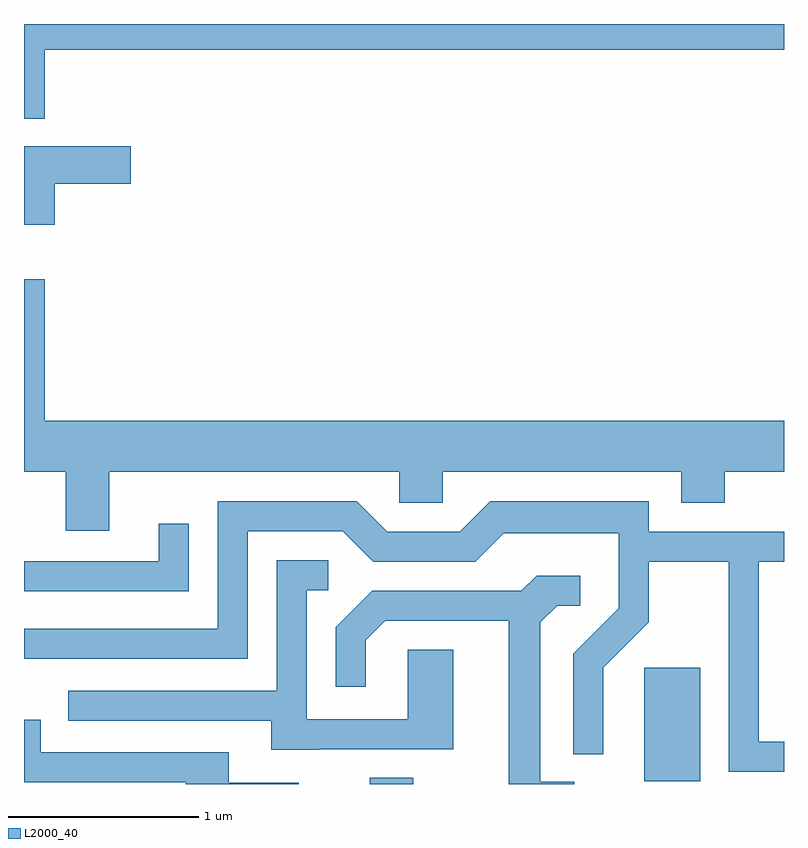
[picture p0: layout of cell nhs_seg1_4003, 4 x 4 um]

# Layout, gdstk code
import gdstk
lib = gdstk.Library(unit=1e-6, precision=1e-09)
def R(c, l, rs):  # rectangles x0, y0, x1, y1
    for r in rs: c.add(gdstk.rectangle(r[:2], r[2:], *l))
def P(c, l, *ps):  # polygons
    for p in ps: c.add(gdstk.Polygon(p, *l))
L2000_40 = (2000, 40)

nhs_seg1_4003 = lib.new_cell('nhs_seg1_4003')
R(nhs_seg1_4003, L2000_40, [(307.431,895.712,307.659,895.744), (308.876,895.726,309.169,896.324)])
P(nhs_seg1_4003, L2000_40, [(305.719,899.576),(309.611,899.576),(309.611,899.712),(305.611,899.712),(305.611,899.213),(305.719,899.213)],
  [(305.774,898.871),(306.174,898.871),(306.174,899.069),(305.611,899.069),(305.611,898.656),(305.774,898.656)],
  [(306.059,897.356),(307.586,897.356),(307.586,897.191),(307.814,897.191),(307.814,897.356),(309.071,897.356),(309.071,897.191),(309.299,897.191),(309.299,897.356),(309.611,897.356),(309.611,897.624),(305.719,897.624),(305.719,898.368),(305.611,898.368),(305.611,897.356),(305.831,897.356),(305.831,897.046),(306.059,897.046)],
  [(309.611,895.934),(309.479,895.934),(309.479,896.881),(309.611,896.881),(309.611,897.039),(308.899,897.039),(308.899,897.199),(308.064,897.199),(307.904,897.039),(307.522,897.039),(307.362,897.199),(306.631,897.199),(306.631,896.529),(305.611,896.529),(305.611,896.371),(306.789,896.371),(306.789,897.041),(307.289,897.041),(307.449,896.881),(307.987,896.881),(308.137,897.031),(308.741,897.031),(308.741,896.637),(308.501,896.397),(308.501,895.868),(308.659,895.868),(308.659,896.324),(308.899,896.564),(308.899,896.881),(309.321,896.881),(309.321,895.776),(309.611,895.776)],
  [(306.479,897.083),(306.321,897.083),(306.321,896.884),(305.611,896.884),(305.611,896.726),(306.479,896.726)],
  [(307.165,895.896),(307.869,895.896),(307.869,896.419),(307.631,896.419),(307.631,896.054),(307.099,896.054),(307.099,896.731),(307.213,896.731),(307.213,896.889),(306.941,896.889),(306.941,896.204),(305.843,896.204),(305.843,896.046),(306.911,896.046),(306.911,895.891),(307.165,895.891)],
  [(308.508,895.724),(308.329,895.724),(308.329,896.564),(308.417,896.651),(308.538,896.651),(308.538,896.809),(308.309,896.809),(308.229,896.729),(307.444,896.729),(307.251,896.537),(307.251,896.223),(307.409,896.223),(307.409,896.469),(307.512,896.571),(308.161,896.571),(308.161,895.712),(308.508,895.712)],
  [(307.058,895.719),(306.689,895.719),(306.689,895.879),(305.699,895.879),(305.699,896.049),(305.611,896.049),(305.611,895.721),(306.461,895.721),(306.461,895.712),(307.058,895.712)])

lib.write_gds('nhs_seg1_4003.gds')
